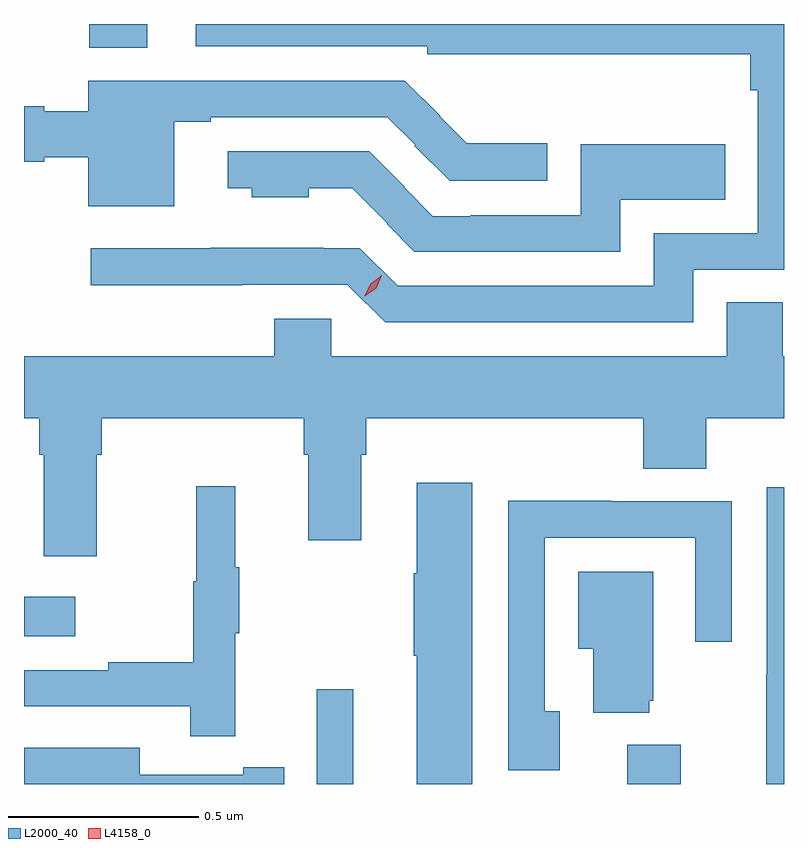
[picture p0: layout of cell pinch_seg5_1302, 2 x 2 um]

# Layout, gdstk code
import gdstk
lib = gdstk.Library(unit=1e-6, precision=1e-09)
def R(c, l, rs):  # rectangles x0, y0, x1, y1
    for r in rs: c.add(gdstk.rectangle(r[:2], r[2:], *l))
def P(c, l, *ps):  # polygons
    for p in ps: c.add(gdstk.Polygon(p, *l))
L2000_40 = (2000, 40)
L4158_0 = (4158, 0)

pinch_seg5_1302 = lib.new_cell('pinch_seg5_1302')
R(pinch_seg5_1302, L2000_40, [(485.865,850.47,485.962,850.72), (486.683,850.47,486.823,850.573), (485.095,850.859,485.23,850.963), (485.267,852.407,485.419,852.47)])
P(pinch_seg5_1302, L2000_40, [(486.856,851.823),(487.095,851.823),(487.095,852.47),(485.547,852.47),(485.547,852.411),(486.156,852.411),(486.156,852.391),(487.006,852.391),(487.006,852.296),(487.026,852.296),(487.026,851.919),(486.752,851.919),(486.752,851.781),(486.078,851.781),(485.979,851.88),(485.882,851.88),(485.882,851.881),(485.587,851.881),(485.587,851.88),(485.271,851.88),(485.271,851.783),(485.669,851.783),(485.669,851.784),(485.946,851.784),(486.045,851.685),(486.856,851.685)],
  [(485.491,852.213),(485.587,852.213),(485.587,852.225),(486.051,852.225),(486.124,852.152),(486.122,852.15),(486.215,852.057),(486.472,852.057),(486.472,852.156),(486.26,852.156),(486.189,852.227),(486.19,852.228),(486.097,852.321),(485.264,852.321),(485.264,852.241),(485.148,852.241),(485.148,852.254),(485.095,852.254),(485.095,852.107),(485.148,852.107),(485.148,852.119),(485.264,852.119),(485.264,851.99),(485.491,851.99)],
  [(486.664,852.008),(486.94,852.008),(486.94,852.154),(486.56,852.154),(486.56,851.967),(486.271,851.967),(486.271,851.964),(486.171,851.964),(486.095,852.04),(486.097,852.042),(486.004,852.135),(485.631,852.135),(485.631,852.038),(485.694,852.038),(485.694,852.014),(485.844,852.014),(485.844,852.038),(485.959,852.038),(486.051,851.946),(486.049,851.944),(486.122,851.871),(486.664,851.871)],
  [(485.287,851.336),(485.3,851.336),(485.3,851.432),(485.831,851.432),(485.831,851.336),(485.843,851.336),(485.843,851.112),(485.983,851.112),(485.983,851.336),(485.996,851.336),(485.996,851.432),(486.725,851.432),(486.725,851.299),(486.89,851.299),(486.89,851.432),(487.095,851.432),(487.095,851.596),(487.092,851.596),(487.092,851.738),(486.944,851.738),(486.944,851.596),(485.904,851.596),(485.904,851.694),(485.753,851.694),(485.753,851.596),(485.095,851.596),(485.095,851.432),(485.135,851.432),(485.135,851.336),(485.147,851.336),(485.147,851.07),(485.287,851.07)],
  [(486.274,851.263),(486.128,851.263),(486.128,851.024),(486.121,851.024),(486.121,850.807),(486.128,850.807),(486.128,850.47),(486.274,850.47)],
  [(485.651,850.867),(485.662,850.867),(485.662,851.041),(485.651,851.041),(485.651,851.254),(485.548,851.254),(485.548,851.004),(485.541,851.004),(485.541,850.79),(485.317,850.79),(485.317,850.77),(485.095,850.77),(485.095,850.674),(485.533,850.674),(485.533,850.596),(485.651,850.596)],
  [(487.095,851.251),(487.05,851.251),(487.05,850.757),(487.048,850.757),(487.048,850.47),(487.095,850.47)],
  [(486.505,850.662),(486.465,850.662),(486.465,851.118),(486.861,851.118),(486.861,850.845),(486.957,850.845),(486.957,851.214),(486.641,851.214),(486.641,851.216),(486.369,851.216),(486.369,850.506),(486.505,850.506)],
  [(486.74,850.689),(486.751,850.689),(486.751,851.029),(486.554,851.029),(486.554,850.826),(486.593,850.826),(486.593,850.658),(486.74,850.658)],
  [(485.78,850.514),(485.672,850.514),(485.672,850.494),(485.4,850.494),(485.4,850.566),(485.095,850.566),(485.095,850.47),(485.78,850.47)])
P(pinch_seg5_1302, L4158_0, [(485.991,851.753),(485.991,851.753),(486.007,851.787),(486.037,851.809),(486.037,851.809),(486.037,851.809),(486.022,851.774),(485.992,851.753)])

lib.write_gds('pinch_seg5_1302.gds')
